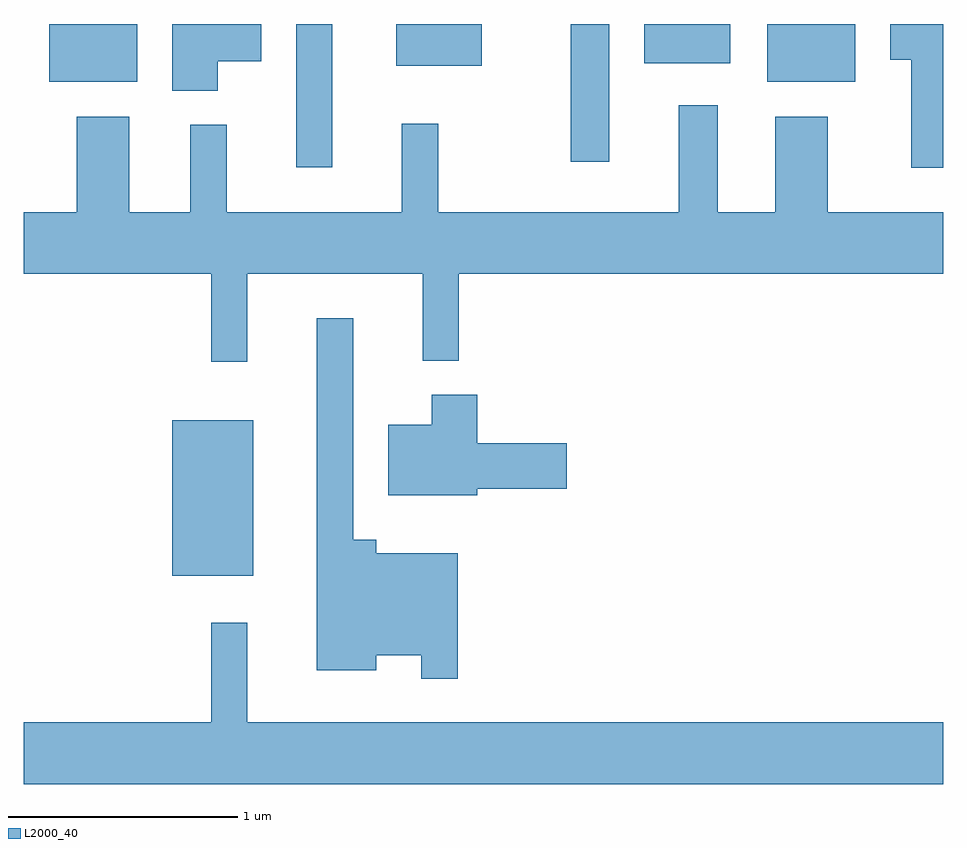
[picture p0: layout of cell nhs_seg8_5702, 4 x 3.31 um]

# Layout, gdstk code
import gdstk
lib = gdstk.Library(unit=1e-6, precision=1e-09)
def R(c, l, rs):  # rectangles x0, y0, x1, y1
    for r in rs: c.add(gdstk.rectangle(r[:2], r[2:], *l))
def P(c, l, *ps):  # polygons
    for p in ps: c.add(gdstk.Polygon(p, *l))
L2000_40 = (2000, 40)

nhs_seg8_5702 = lib.new_cell('nhs_seg8_5702')
R(nhs_seg8_5702, L2000_40, [(356.256,1883.941,356.609,1884.619), (356.796,1885.718,356.954,1886.342), (357.991,1885.743,358.159,1886.342), (355.721,1886.091,356.104,1886.342), (358.846,1886.091,359.229,1886.342), (357.231,1886.161,357.604,1886.342), (358.311,1886.171,358.684,1886.342)])
P(nhs_seg8_5702, L2000_40, [(356.454,1886.181),(356.644,1886.181),(356.644,1886.342),(356.256,1886.342),(356.256,1886.051),(356.454,1886.051)],
  [(359.611,1886.342),(359.381,1886.342),(359.381,1886.186),(359.471,1886.186),(359.471,1885.716),(359.611,1885.716)],
  [(356.584,1885.256),(357.346,1885.256),(357.346,1884.878),(357.504,1884.878),(357.504,1885.256),(359.611,1885.256),(359.611,1885.524),(359.109,1885.524),(359.109,1885.939),(358.881,1885.939),(358.881,1885.524),(358.629,1885.524),(358.629,1885.988),(358.461,1885.988),(358.461,1885.524),(357.414,1885.524),(357.414,1885.908),(357.256,1885.908),(357.256,1885.524),(356.494,1885.524),(356.494,1885.903),(356.336,1885.903),(356.336,1885.524),(356.069,1885.524),(356.069,1885.939),(355.841,1885.939),(355.841,1885.524),(355.611,1885.524),(355.611,1885.256),(356.426,1885.256),(356.426,1884.873),(356.584,1884.873)],
  [(357.499,1884.039),(357.144,1884.039),(357.144,1884.099),(357.044,1884.099),(357.044,1885.063),(356.886,1885.063),(356.886,1883.531),(357.144,1883.531),(357.144,1883.596),(357.341,1883.596),(357.341,1883.493),(357.499,1883.493)],
  [(357.584,1884.321),(357.974,1884.321),(357.974,1884.519),(357.584,1884.519),(357.584,1884.729),(357.386,1884.729),(357.386,1884.599),(357.196,1884.599),(357.196,1884.291),(357.584,1884.291)],
  [(359.611,1883.304),(356.584,1883.304),(356.584,1883.738),(356.426,1883.738),(356.426,1883.304),(355.611,1883.304),(355.611,1883.036),(359.611,1883.036)])

lib.write_gds('nhs_seg8_5702.gds')
